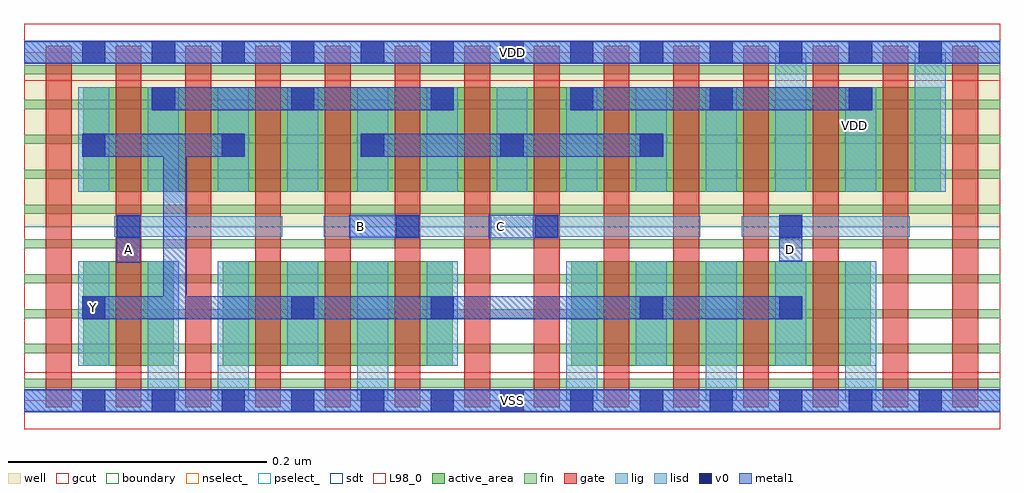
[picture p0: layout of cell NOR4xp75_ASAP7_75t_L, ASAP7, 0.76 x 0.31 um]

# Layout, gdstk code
import gdstk
lib = gdstk.Library(unit=1e-6, precision=2.5e-10)
def R(c, l, rs):  # rectangles x0, y0, x1, y1
    for r in rs: c.add(gdstk.rectangle(r[:2], r[2:], *l))
def A(c, l, x, y, w, h, nx, ny, dx, dy):  # array of equal rectangles
    R(c, l, [(x+i*dx, y+j*dy, x+i*dx+w, y+j*dy+h) for i in range(nx) for j in range(ny)])
def P(c, l, *ps):  # polygons
    for p in ps: c.add(gdstk.Polygon(p, *l))
well = (1, 0)
fin = (2, 0)
gate = (7, 0)
gcut = (10, 0)
active_area = (11, 0)
nselect_ = (12, 0)
pselect_ = (13, 0)
lig = (16, 0)
lisd = (17, 0)
v0 = (18, 0)
metal1 = (19, 0)
sdt = (88, 0)
L98_0 = (98, 0)
boundary = (100, 0)

nor4xp75_asap7_75t_l = lib.new_cell('NOR4xp75_ASAP7_75t_L')
R(nor4xp75_asap7_75t_l, well, [(0,0.135,0.756,0.27)])
A(nor4xp75_asap7_75t_l, fin, 0, 0.01, 0.756, 0.007, 1, 10, 0, 0.027)
A(nor4xp75_asap7_75t_l, gate, 0.017, -0.005, 0.02, 0.28, 14, 1, 0.054, 0)
R(nor4xp75_asap7_75t_l, gcut, [(0,-0.022,0.756,0.022), (0,0.248,0.756,0.292)])
R(nor4xp75_asap7_75t_l, active_area, [(0.046,0.027,0.116,0.108), (0.154,0.027,0.332,0.108), (0.424,0.027,0.656,0.108), (0.046,0.162,0.71,0.243)])
R(nor4xp75_asap7_75t_l, nselect_, [(0,0,0.756,0.135)])
R(nor4xp75_asap7_75t_l, pselect_, [(0,0.135,0.756,0.27)])
A(nor4xp75_asap7_75t_l, lig, 0.07, 0.127, 0.13, 0.016, 4, 1, 0.162, 0)
R(nor4xp75_asap7_75t_l, lig, [(0,-0.008,0.756,0.008), (0,0.262,0.756,0.278)])
A(nor4xp75_asap7_75t_l, lisd, 0.42, 0, 0.024, 0.108, 3, 1, 0.108, 0)
A(nor4xp75_asap7_75t_l, lisd, 0.042, 0.162, 0.024, 0.081, 10, 1, 0.054, 0)
R(nor4xp75_asap7_75t_l, lisd, [(0.096,0,0.12,0.108), (0.15,0,0.174,0.108), (0.258,0,0.282,0.108), (0.042,0.027,0.066,0.108), (0.204,0.027,0.228,0.108), (0.312,0.027,0.336,0.108), (0.474,0.027,0.498,0.108), (0.582,0.027,0.606,0.108), (0.582,0.162,0.606,0.27), (0.636,0.162,0.66,0.243), (0.69,0.162,0.714,0.27)])
A(nor4xp75_asap7_75t_l, v0, 0.045, -0.009, 0.018, 0.018, 13, 2, 0.054, 0.27)
A(nor4xp75_asap7_75t_l, v0, 0.045, 0.189, 0.018, 0.018, 5, 1, 0.108, 0)
A(nor4xp75_asap7_75t_l, v0, 0.099, 0.225, 0.018, 0.018, 6, 1, 0.108, 0)
R(nor4xp75_asap7_75t_l, v0, [(0.045,0.063,0.063,0.081), (0.207,0.063,0.225,0.081), (0.315,0.063,0.333,0.081), (0.477,0.063,0.495,0.081), (0.585,0.063,0.603,0.081), (0.072,0.126,0.09,0.144), (0.288,0.126,0.306,0.144), (0.396,0.126,0.414,0.144), (0.585,0.126,0.603,0.144)])
R(nor4xp75_asap7_75t_l, metal1, [(0,-0.009,0.756,0.009), (0.072,0.107,0.09,0.144), (0.585,0.108,0.603,0.144), (0.252,0.126,0.306,0.144), (0.36,0.126,0.414,0.144), (0.261,0.189,0.495,0.207), (0.099,0.225,0.333,0.243), (0.423,0.225,0.657,0.243), (0,0.261,0.756,0.279)])
P(nor4xp75_asap7_75t_l, metal1, [(0.045,0.063),(0.045,0.081),(0.108,0.081),(0.108,0.189),(0.045,0.189),(0.045,0.207),(0.171,0.207),(0.171,0.189),(0.126,0.189),(0.126,0.081),(0.603,0.081),(0.603,0.063)])
A(nor4xp75_asap7_75t_l, sdt, 0.042, 0.027, 0.024, 0.081, 6, 1, 0.054, 0)
A(nor4xp75_asap7_75t_l, sdt, 0.42, 0.027, 0.024, 0.081, 5, 1, 0.054, 0)
A(nor4xp75_asap7_75t_l, sdt, 0.042, 0.162, 0.024, 0.081, 13, 1, 0.054, 0)
R(nor4xp75_asap7_75t_l, L98_0, [(0,0,0.756,0.27)])
R(nor4xp75_asap7_75t_l, boundary, [(0,0,0.756,0.27)])
nor4xp75_asap7_75t_l.add(gdstk.Label('D', (0.594,0.117), layer=19, texttype=251))
nor4xp75_asap7_75t_l.add(gdstk.Label('C', (0.369,0.135), layer=19, texttype=251))
nor4xp75_asap7_75t_l.add(gdstk.Label('Y', (0.054,0.072), layer=19, texttype=251))
nor4xp75_asap7_75t_l.add(gdstk.Label('A', (0.081,0.117), layer=19, texttype=251))
nor4xp75_asap7_75t_l.add(gdstk.Label('B', (0.261,0.135), layer=19, texttype=251))
nor4xp75_asap7_75t_l.add(gdstk.Label('VSS', (0.378,0), layer=19, texttype=251))
nor4xp75_asap7_75t_l.add(gdstk.Label('VDD', (0.378,0.27), layer=19, texttype=251))
nor4xp75_asap7_75t_l.add(gdstk.Label('VDD', (0.643,0.213), layer=1, texttype=251))
nor4xp75_asap7_75t_l.add(gdstk.Label('VSS', (0.869,0.213), layer=3, texttype=251))

lib.write_gds('NOR4xp75_ASAP7_75t_L.gds')
